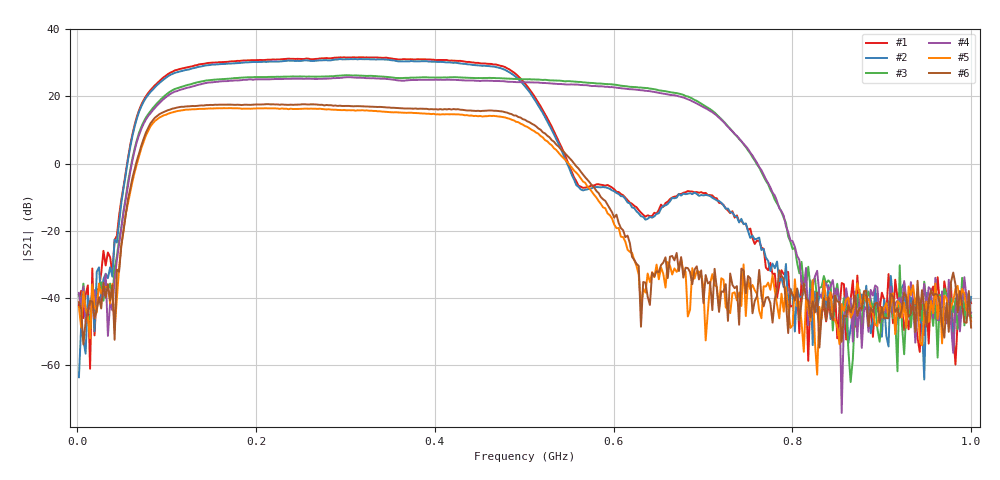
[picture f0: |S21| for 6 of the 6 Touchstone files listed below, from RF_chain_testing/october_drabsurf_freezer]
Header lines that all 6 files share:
!Keysight Technologies N9923A: A.12.45
!Timezone: (UTC+08:00) Kuala Lumpur, Singapore
!Model: N9923A
!Serial: MY61181427
!GPS Latitude:
!GPS Longitude:
!GPS TimeStamp: 0001-01-01 00:00:00Z
!GPS Seconds Since Last Read: 0
!Correction: S11(ON U?)S21(ON U?)S12(ON U?)S22(ON U?)
!S2P File: Measurements:S11,S21,S12,S22:
# Hz S DB R 50
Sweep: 2 MHz to 1 GHz
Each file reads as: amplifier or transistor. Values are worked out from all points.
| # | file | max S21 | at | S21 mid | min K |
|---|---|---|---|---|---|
| 1 | drab_ch1_20C.s2p | 31.7 dB | 308.9 MHz | 23.9 dB at 501 MHz | 1.13 |
| 2 | drab_ch1_-40C.s2p | 31.1 dB | 293.9 MHz | 23.0 dB at 501 MHz | 1.11 |
| 3 | olddrab_ch1_20C.s2p | 26.3 dB | 301.4 MHz | 25.1 dB at 501 MHz | 1.61 |
| 4 | olddrab_ch1_-40C.s2p | 25.7 dB | 303.9 MHz | 24.2 dB at 501 MHz | 1.54 |
| 5 | surf_ch2_20C.s2p | 16.5 dB | 171.7 MHz | 11.2 dB at 501 MHz | -55.41 |
| 6 | surf_ch2_-40C.s2p | 17.7 dB | 214.1 MHz | 13.0 dB at 501 MHz | 2.94 |
